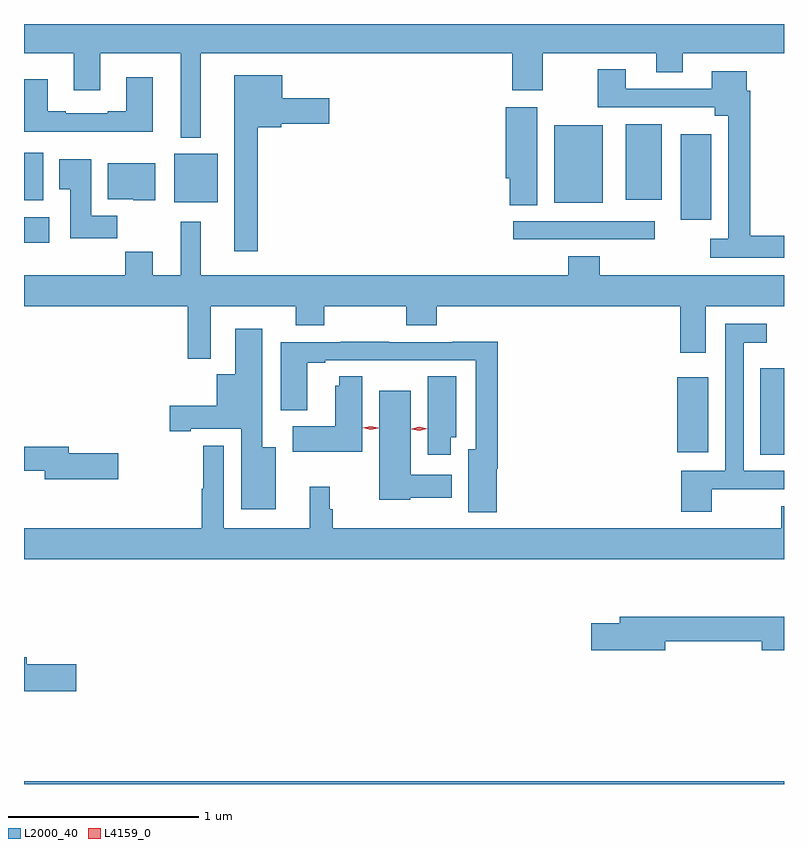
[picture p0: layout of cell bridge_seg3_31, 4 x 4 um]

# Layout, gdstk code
import gdstk
lib = gdstk.Library(unit=1e-6, precision=1e-09)
def R(c, l, rs):  # rectangles x0, y0, x1, y1
    for r in rs: c.add(gdstk.rectangle(r[:2], r[2:], *l))
def P(c, l, *ps):  # polygons
    for p in ps: c.add(gdstk.Polygon(p, *l))
L2000_40 = (2000, 40)
L4159_0 = (4159, 0)

bridge_seg3_31 = lib.new_cell('bridge_seg3_31')
R(bridge_seg3_31, L2000_40, [(684.938,689.078,688.938,689.092), (688.814,690.811,688.938,691.267), (688.376,690.825,688.54,691.219), (684.938,691.928,685.072,692.062), (687.513,691.944,688.258,692.04), (688.394,692.049,688.555,692.497), (687.728,692.138,687.985,692.545), (685.73,692.141,685.957,692.395), (684.938,692.15,685.039,692.4), (688.106,692.153,688.294,692.551)])
P(bridge_seg3_31, L2000_40, [(684.938,692.924),(685.199,692.924),(685.199,692.73),(685.339,692.73),(685.339,692.924),(685.763,692.924),(685.763,692.48),(685.867,692.48),(685.867,692.924),(687.509,692.924),(687.509,692.73),(687.669,692.73),(687.669,692.924),(688.265,692.924),(688.265,692.825),(688.405,692.825),(688.405,692.924),(688.938,692.924),(688.938,693.078),(684.938,693.078)],
  [(688.938,691.964),(688.76,691.964),(688.76,692.726),(688.741,692.726),(688.741,692.83),(688.559,692.83),(688.559,692.736),(688.105,692.736),(688.105,692.839),(687.958,692.839),(687.958,692.64),(688.574,692.64),(688.574,692.594),(688.644,692.594),(688.644,691.948),(688.551,691.948),(688.551,691.848),(688.938,691.848)],
  [(686.167,692.534),(686.292,692.534),(686.292,692.552),(686.545,692.552),(686.545,692.686),(686.296,692.686),(686.296,692.809),(686.045,692.809),(686.045,691.881),(686.167,691.881)],
  [(685.615,692.797),(685.475,692.797),(685.475,692.62),(685.379,692.62),(685.379,692.607),(685.159,692.607),(685.159,692.62),(685.063,692.62),(685.063,692.788),(684.938,692.788),(684.938,692.51),(685.615,692.51)],
  [(687.64,692.641),(687.473,692.641),(687.473,692.265),(687.494,692.265),(687.494,692.125),(687.64,692.125)],
  [(685.43,692.068),(685.291,692.068),(685.291,692.365),(685.124,692.365),(685.124,692.209),(685.181,692.209),(685.181,691.95),(685.43,691.95)],
  [(685.63,692.344),(685.379,692.344),(685.379,692.156),(685.512,692.156),(685.512,692.15),(685.63,692.15)],
  [(685.921,691.592),(686.369,691.592),(686.369,691.493),(686.517,691.493),(686.517,691.592),(686.95,691.592),(686.95,691.493),(687.11,691.493),(687.11,691.592),(688.391,691.592),(688.391,691.347),(688.525,691.347),(688.525,691.592),(688.938,691.592),(688.938,691.756),(687.968,691.756),(687.968,691.855),(687.803,691.855),(687.803,691.756),(685.867,691.756),(685.867,692.038),(685.763,692.038),(685.763,691.756),(685.615,691.756),(685.615,691.88),(685.471,691.88),(685.471,691.756),(684.938,691.756),(684.938,691.592),(685.8,691.592),(685.8,691.317),(685.921,691.317)],
  [(688.557,690.629),(688.822,690.629),(688.822,690.63),(688.938,690.63),(688.938,690.726),(688.725,690.726),(688.725,691.4),(688.846,691.4),(688.846,691.501),(688.629,691.501),(688.629,690.726),(688.397,690.726),(688.397,690.51),(688.557,690.51)],
  [(686.263,690.85),(686.191,690.85),(686.191,691.474),(686.051,691.474),(686.051,691.234),(685.952,691.234),(685.952,691.069),(685.704,691.069),(685.704,690.935),(685.816,690.935),(685.816,690.947),(686.081,690.947),(686.081,690.524),(686.263,690.524)],
  [(687.425,690.737),(687.431,690.737),(687.431,691.406),(687.193,691.406),(687.193,691.404),(686.861,691.404),(686.861,691.406),(686.605,691.406),(686.605,691.404),(686.288,691.404),(686.288,691.046),(686.428,691.046),(686.428,691.296),(686.524,691.296),(686.524,691.308),(687.315,691.308),(687.315,690.841),(687.275,690.841),(687.275,690.509),(687.425,690.509)],
  [(686.719,691.223),(686.597,691.223),(686.597,691.173),(686.576,691.173),(686.576,690.961),(686.352,690.961),(686.352,690.827),(686.719,690.827)],
  [(687.184,690.902),(687.214,690.902),(687.214,691.223),(687.062,691.223),(687.062,690.81),(687.184,690.81)],
  [(686.97,690.584),(687.19,690.584),(687.19,690.706),(686.974,690.706),(686.974,691.147),(686.807,691.147),(686.807,690.575),(686.97,690.575)],
  [(688.938,690.541),(688.924,690.541),(688.924,690.424),(686.563,690.424),(686.563,690.525),(686.548,690.525),(686.548,690.643),(686.441,690.643),(686.441,690.424),(685.989,690.424),(685.989,690.859),(685.881,690.859),(685.881,690.633),(685.873,690.633),(685.873,690.424),(684.938,690.424),(684.938,690.26),(688.938,690.26)],
  [(685.435,690.818),(685.174,690.818),(685.174,690.854),(684.938,690.854),(684.938,690.726),(685.046,690.726),(685.046,690.683),(685.435,690.683)],
  [(688.312,689.83),(688.82,689.83),(688.82,689.783),(688.938,689.783),(688.938,689.959),(688.073,689.959),(688.073,689.925),(687.924,689.925),(687.924,689.783),(688.312,689.783)],
  [(685.213,689.708),(684.952,689.708),(684.952,689.744),(684.938,689.744),(684.938,689.566),(685.213,689.566)])
P(bridge_seg3_31, L4159_0, [(687.019,690.938),(686.979,690.946),(686.978,690.947),(686.979,690.947),(687.019,690.958),(687.06,690.949),(687.06,690.949),(687.06,690.948)],
  [(686.762,690.942),(686.722,690.952),(686.722,690.953),(686.722,690.953),(686.763,690.962),(686.803,690.952),(686.803,690.952),(686.803,690.951)])

lib.write_gds('bridge_seg3_31.gds')
